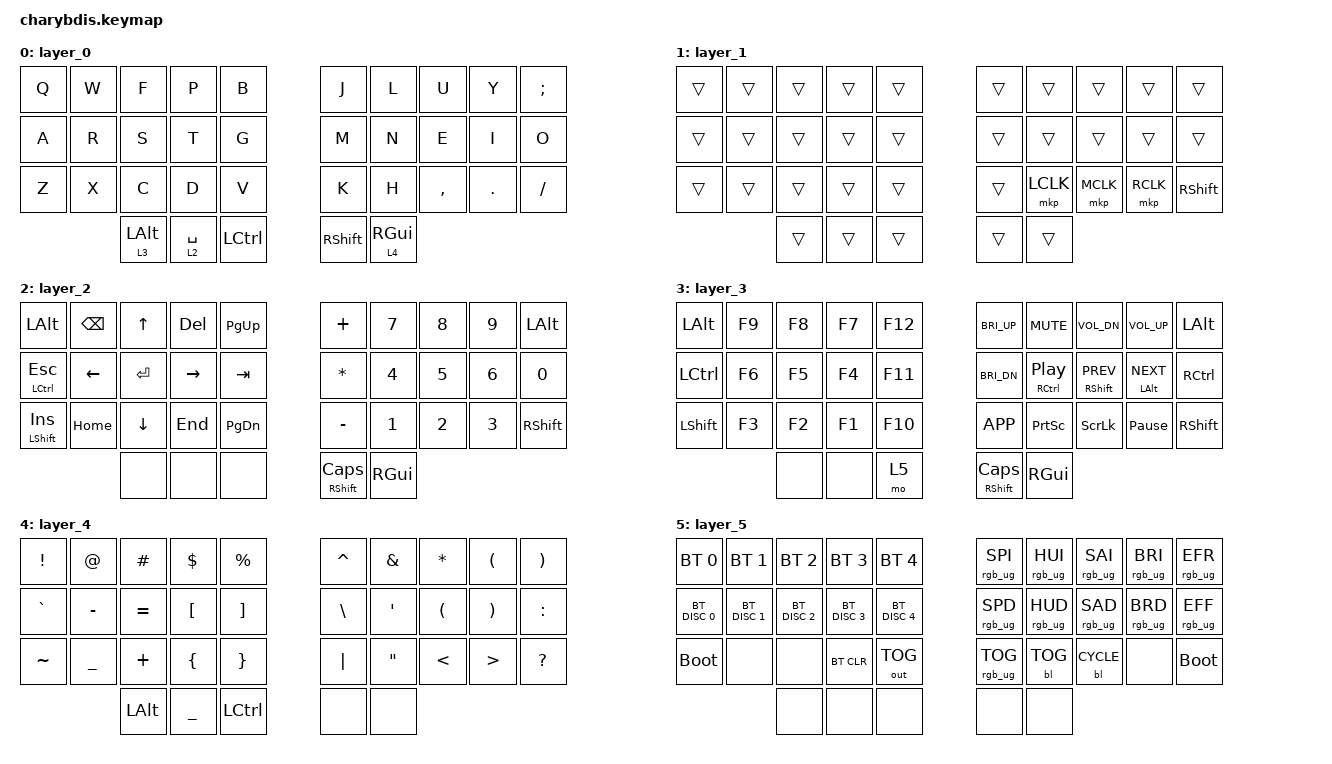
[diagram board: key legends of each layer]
#include <behaviors.dtsi>
#include <behaviors/mouse_keys.dtsi>
#include <dt-bindings/zmk/backlight.h>
#include <dt-bindings/zmk/bt.h>
#include <dt-bindings/zmk/keys.h>
#include <dt-bindings/zmk/mouse.h>
#include <dt-bindings/zmk/outputs.h>
#include <dt-bindings/zmk/pointing.h>
#include <dt-bindings/zmk/rgb.h>

&lt { flavor = "hold-preferred"; };
&sk { release-after-ms = <5000>; quick-release; };

/ {
    behaviors {
        ls: layer_sticky { compatible = "zmk,behavior-hold-tap"; #binding-cells = <2>; flavor = "hold-preferred"; tapping-term-ms = <200>; bindings = <&mo>, <&sk>; };
        ms: mod_sticky   { compatible = "zmk,behavior-hold-tap"; #binding-cells = <2>; flavor = "hold-preferred"; tapping-term-ms = <200>; bindings = <&kp>, <&sk>; };
        mm: mod_mouse    { compatible = "zmk,behavior-hold-tap"; #binding-cells = <2>; flavor = "hold-preferred"; tapping-term-ms = <200>; bindings = <&kp>, <&mkp>; };
        mc: mod_capsword { compatible = "zmk,behavior-hold-tap"; #binding-cells = <2>; flavor = "hold-preferred"; tapping-term-ms = <200>; bindings = <&kp>, <&caps_word>; };
    };
    combos {
        compatible = "zmk,combos";
        alt      { bindings = <&kp LALT>;     key-positions = <31 34>; };
        shft_alt { bindings = <&kp LS(LALT)>; key-positions = <31 33>; };
        ctrl_alt { bindings = <&kp LC(LALT)>; key-positions = <32 34>; };
    };
    keymap {
        compatible = "zmk,keymap";
        layer_0 { bindings = <
&kp Q               &kp W               &kp F               &kp P               &kp B                   &kp J               &kp L               &kp U               &kp Y               &kp SEMI
&kp A               &kp R               &kp S               &kp T               &kp G                   &kp M               &kp N               &kp E               &kp I               &kp O
&kp Z               &kp X               &kp C               &kp D               &kp V                   &kp K               &kp H               &kp COMMA           &kp DOT             &kp FSLH
                                        &lt 3 LALT          &lt 2 SPACE         &kp LCTRL               &kp RSHFT           &lt 4 RGUI >; };
        layer_1 { bindings = <
&trans              &trans              &trans              &trans              &trans                  &trans              &trans              &trans              &trans              &trans
&trans              &trans              &trans              &trans              &trans                  &trans              &trans              &trans              &trans              &trans
&trans              &trans              &trans              &trans              &trans                  &trans              &mkp LCLK           &mkp MCLK           &mkp RCLK           &kp RSHFT
                                        &trans              &trans              &trans                  &trans              &trans >; };
        layer_2 { bindings = <
&kp LALT            &kp BSPC            &kp UP              &kp DEL             &kp PG_UP               &kp PLUS            &kp N7              &kp N8              &kp N9              &kp LALT 
&mt LCTRL ESC       &kp LEFT            &kp ENTER           &kp RIGHT           &kp TAB                 &kp ASTRK           &kp N4              &kp N5              &kp N6              &kp N0
&mt LSHFT INS       &kp HOME            &kp DOWN            &kp END             &kp PG_DN               &kp MINUS           &kp N1              &kp N2              &kp N3              &kp RSHFT
                                        &none               &none               &none                   &mc RSHFT CAPS      &kp RGUI >; };
        layer_3 { bindings = <
&kp LALT            &kp F9              &kp F8              &kp F7              &kp F12                 &kp C_BRI_UP        &kp C_MUTE          &kp C_VOL_DN        &kp C_VOL_UP        &kp LALT
&kp LCTRL           &kp F6              &kp F5              &kp F4              &kp F11                 &kp C_BRI_DN        &mt RCTRL C_PP      &mt RSHFT C_PREV    &mt LALT C_NEXT     &kp RCTRL
&kp LSHFT           &kp F3              &kp F2              &kp F1              &kp F10                 &kp K_APP           &kp PSCRN           &kp SLCK            &kp PAUSE_BREAK     &kp RSHFT
                                        &none               &none               &mo 5                   &mt RSHFT CAPS      &kp RGUI >; };
        layer_4 { bindings = <
&kp EXCL            &kp AT              &kp POUND           &kp DLLR            &kp PRCNT               &kp CARET           &kp AMPS            &kp ASTRK           &kp LPAR            &kp RPAR
&kp GRAVE           &kp MINUS           &kp EQUAL           &kp LBKT            &kp RBKT                &kp BSLH            &kp SQT             &kp LPAR            &kp RPAR            &kp COLON
&kp TILDE           &kp UNDER           &kp PLUS            &kp LBRC            &kp RBRC                &kp PIPE            &kp DQT             &kp LT              &kp GT              &kp QMARK
                                        &kp LALT            &kp UNDER           &kp LCTRL               &none               &none >; };
        layer_5 { bindings = <
&bt BT_SEL 0        &bt BT_SEL 1        &bt BT_SEL 2        &bt BT_SEL 3        &bt BT_SEL 4            &rgb_ug RGB_SPI     &rgb_ug RGB_HUI     &rgb_ug RGB_SAI     &rgb_ug RGB_BRI     &rgb_ug RGB_EFR
&bt BT_DISC 0       &bt BT_DISC 1       &bt BT_DISC 2       &bt BT_DISC 3       &bt BT_DISC 4           &rgb_ug RGB_SPD     &rgb_ug RGB_HUD     &rgb_ug RGB_SAD     &rgb_ug RGB_BRD     &rgb_ug RGB_EFF
&bootloader         &none               &none               &bt BT_CLR          &out OUT_TOG            &rgb_ug RGB_TOG     &bl BL_TOG          &bl BL_CYCLE        &none               &bootloader
                                        &none               &none               &none                   &none               &none >; }; // &default_report     &studio_unlock
    };
};
